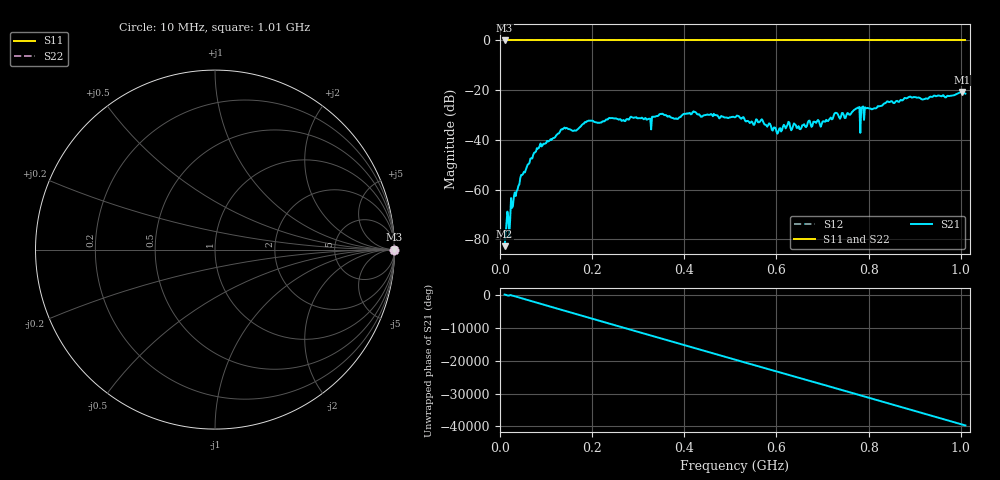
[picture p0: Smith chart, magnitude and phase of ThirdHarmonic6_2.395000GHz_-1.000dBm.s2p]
! 8/17/2025 3:54:48 AM
! C:\ANRITSUVNA\TEMP\TEMP.S2P
! CHANNEL.1
! TR.MEASUREMENT
! RAW.DATA
! RF.CORRECTION.OFF
! AVERAGING.OFF
! IF.BANDWIDTH: 5KHZ
! SWEEPTYPE:  FREQ.SWEEP(Linear)
! Reference Plane Port Info
! PORT:  PORT1  PORT2
! DISTANCE:  0  m  0  m
! TIME:  0  s  0  s
! PHASE.OFFSET:  0  deg.  0  deg.
! LOSS:  0  dB  0  dB
! REF.LOSS:  0  dB  0  dB
! REF.FREQ:  0  Hz  0  Hz
! Power Info
! POWER:  -20  dBm  -20  dBm
! EFF.POWER:  -20  dBm  -20  dBm
! SOURCE.ATTEN:  0  dB  0  dB
! TEST.ATTEN:  0  dB  0  dB
# GHZ S RI R 50.0
! FREQ.GHZ  S11RE  S11IM  S21RE  S21IM  S12RE  S12IM  S22RE  S22IM
!; PortSelection: Port_12
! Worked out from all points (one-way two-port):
!   501 points, 10 MHz to 1.01 GHz, reference 50 ohm
!   highest |S21| = -20.73 dB at 1.002 GHz (marker M1); lowest = -82.7 dB at 10 MHz (marker M2)
!   lowest |S11| = 0.0 dB at 10 MHz (marker M3)
!   |S11| at or under -10 dB: nowhere
!   |S22| runs from 0.0 to 0.0 dB; largest |S21 - S12| = 1.1
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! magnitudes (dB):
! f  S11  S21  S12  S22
! 10 MHz  0.0  -82.7  0.0  0.0
! 24 MHz  0.0  -63.4  0.0  0.0
! 28 MHz  0.0  -66.6  0.0  0.0
! 44 MHz  0.0  -55.3  0.0  0.0
! 76 MHz  0.0  -45.0  0.0  0.0
! 136 MHz  0.0  -35.8  0.0  0.0
! 162 MHz  0.0  -36.1  0.0  0.0
! 178 MHz  0.0  -33.9  0.0  0.0
! 240 MHz  0.0  -31.2  0.0  0.0
! 324 MHz  0.0  -31.5  0.0  0.0
! 344 MHz  0.0  -30.2  0.0  0.0
! 510 MHz  0.0  -30.9  0.0  0.0
! 568 MHz  0.0  -31.7  0.0  0.0
! 602 MHz  0.0  -37.5  0.0  0.0
! 626 MHz  0.0  -32.7  0.0  0.0
! 678 MHz  0.0  -34.3  0.0  0.0
! 776 MHz  0.0  -27.0  0.0  0.0
! 786 MHz  0.0  -26.9  0.0  0.0
! 788 MHz  0.0  -26.5  0.0  0.0
! 844 MHz  0.0  -24.8  0.0  0.0
! 1.002 GHz  0.0  -20.7  0.0  0.0
! 1.01 GHz  0.0  -21.4  0.0  0.0
